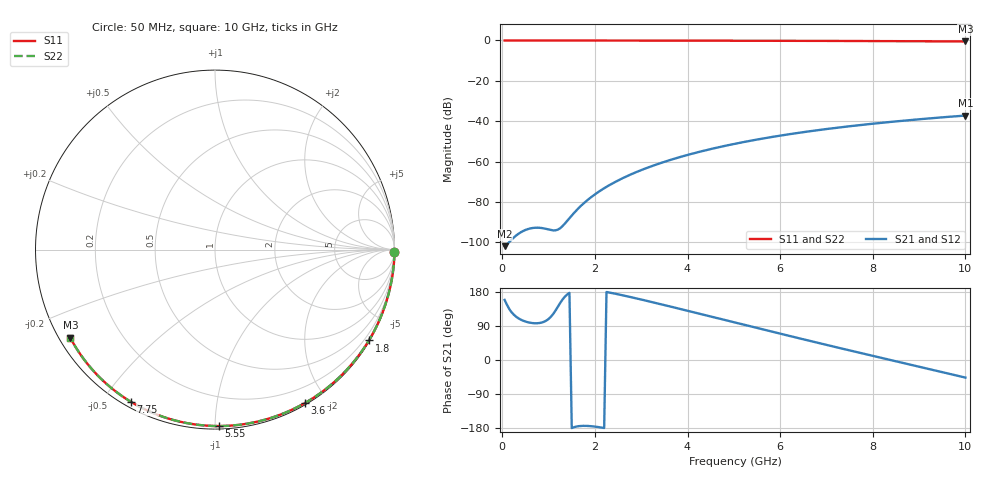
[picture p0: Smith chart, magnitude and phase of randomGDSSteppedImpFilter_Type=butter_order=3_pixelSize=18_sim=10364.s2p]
! freq	dB(S11)	phase(S11)	dB(S12)	phase(S12)
!  dB(S21)	phase(S21)	dB(S22)	phase(S22)
!S-par simulation data
#  GHz  S  DB  R 50
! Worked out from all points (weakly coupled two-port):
!   200 points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, 50 MHz to 10 GHz, reference 50 ohm
!   highest |S21| = -37.19 dB at 10 GHz (marker M1); lowest = -101.9 dB at 50 MHz (marker M2)
!   lowest |S11| = -0.5 dB at 10 GHz (marker M3), VSWR 34.72, Z = 1.55 - j14 ohm
!   |S11| at or under -10 dB: nowhere
!   |S22| runs from -0.5 to 0.0 dB; largest |S21 - S12| = 0
!   S11 on the Smith chart (normalised r, x): 50 MHz: open; 1.8 GHz: 0.03, -3.66; 3.6 GHz: 0.02, -1.75; 5.55 GHz: 0.02, -1.02; 7.75 GHz: 0.02, -0.59; 10 GHz: 0.03, -0.28
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0.05  -0.00 -0.9  -101.88 158.6  -101.88 158.6  -0.00 -0.9
0.45  -0.01 -7.8  -94.36 103.7  -94.36 103.7  -0.01 -7.8
0.9  -0.02 -15.4  -93.09 100.9  -93.09 100.9  -0.02 -15.4
1.3  -0.03 -22.2  -91.95 159.4  -91.95 159.4  -0.03 -22.2
1.75  -0.04 -29.7  -80.81 -173.8  -80.81 -173.8  -0.04 -29.7
1.8  -0.04 -30.5  -79.80 -173.8  -79.80 -173.8  -0.04 -30.5
1.95  -0.04 -33.0  -77.06 -175.0  -77.06 -175.0  -0.04 -33.0
2.1  -0.05 -35.5  -74.65 -177.4  -74.65 -177.4  -0.05 -35.5
2.3  -0.05 -38.8  -71.82 178.3  -71.82 178.3  -0.05 -38.8
2.5  -0.05 -42.0  -69.34 173.4  -69.34 173.4  -0.05 -42.0
2.9  -0.06 -48.5  -65.14 162.4  -65.14 162.4  -0.06 -48.5
3.4  -0.07 -56.4  -60.86 147.9  -60.86 147.9  -0.07 -56.4
3.6  -0.08 -59.5  -59.37 141.9  -59.37 141.9  -0.08 -59.5
4.3  -0.10 -70.3  -54.90 120.9  -54.90 120.9  -0.10 -70.3
5.05  -0.12 -81.4  -51.04 98.2  -51.04 98.2  -0.12 -81.4
5.55  -0.14 -88.6  -48.87 83.1  -48.87 83.1  -0.14 -88.6
6.1  -0.17 -96.4  -46.77 66.5  -46.77 66.5  -0.17 -96.4
6.7  -0.20 -104.7  -44.77 48.7  -44.77 48.7  -0.20 -104.7
7.75  -0.27 -118.9  -41.85 18.1  -41.85 18.1  -0.27 -118.9
8.35  -0.32 -126.9  -40.42 0.9  -40.42 0.9  -0.32 -126.9
9.2  -0.41 -138.1  -38.64 -23.3  -38.64 -23.3  -0.41 -138.1
10  -0.50 -148.6  -37.19 -46.4  -37.19 -46.4  -0.50 -148.6
